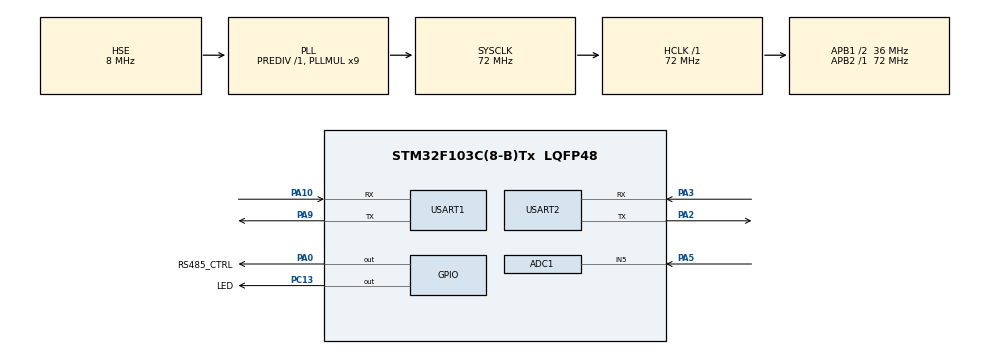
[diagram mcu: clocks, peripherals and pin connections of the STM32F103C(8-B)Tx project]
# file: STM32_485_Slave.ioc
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ADC1.Channel-1\#ChannelRegularConversion=ADC_CHANNEL_5
ADC1.NbrOfConversionFlag=1
ADC1.Rank-1\#ChannelRegularConversion=1
ADC1.SamplingTime-1\#ChannelRegularConversion=ADC_SAMPLETIME_1CYCLE_5
ADC1.master=1
Mcu.Family=STM32F1
Mcu.Name=STM32F103C(8-B)Tx
Mcu.Package=LQFP48
NVIC.PriorityGroup=NVIC_PRIORITYGROUP_4
NVIC.USART2_IRQn=true\:0\:0\:false\:false\:true\:true\:true
PA0-WKUP.GPIO_Label=RS485_CTRL
PA0-WKUP.GPIO_ModeDefaultOutputPP=GPIO_MODE_OUTPUT_PP
PA0-WKUP.GPIO_PuPd=GPIO_PULLUP
PA0-WKUP.GPIO_Speed=GPIO_SPEED_FREQ_HIGH
PA0-WKUP.PinState=GPIO_PIN_SET
PA0-WKUP.Signal=GPIO_Output
PA10.Mode=Asynchronous
PA10.Signal=USART1_RX
PA13.Mode=Serial_Wire
PA13.Signal=SYS_JTMS-SWDIO
PA14.Mode=Serial_Wire
PA14.Signal=SYS_JTCK-SWCLK
PA2.Mode=Asynchronous
PA2.Signal=USART2_TX
PA3.Mode=Asynchronous
PA3.Signal=USART2_RX
PA5.Signal=ADCx_IN5
PA9.Mode=Asynchronous
PA9.Signal=USART1_TX
PC13-TAMPER-RTC.GPIO_Label=LED
PC13-TAMPER-RTC.GPIO_PuPd=GPIO_PULLUP
PC13-TAMPER-RTC.GPIO_Speed=GPIO_SPEED_FREQ_HIGH
PC13-TAMPER-RTC.PinState=GPIO_PIN_SET
PC13-TAMPER-RTC.Signal=GPIO_Output
PD0-OSC_IN.Mode=HSE-External-Oscillator
PD0-OSC_IN.Signal=RCC_OSC_IN
PD1-OSC_OUT.Mode=HSE-External-Oscillator
PD1-OSC_OUT.Signal=RCC_OSC_OUT
ProjectManager.HeapSize=0x200
ProjectManager.StackSize=0x400
ProjectManager.TargetToolchain=MDK-ARM V5.27
RCC.ADCPresc=RCC_ADCPCLK2_DIV6
RCC.AHBFreq_Value=72000000
RCC.APB1CLKDivider=RCC_HCLK_DIV2
RCC.APB1Freq_Value=36000000
RCC.APB1TimFreq_Value=72000000
RCC.APB2Freq_Value=72000000
RCC.APB2TimFreq_Value=72000000
RCC.HCLKFreq_Value=72000000
RCC.PLLMUL=RCC_PLL_MUL9
RCC.PLLSourceVirtual=RCC_PLLSOURCE_HSE
RCC.SYSCLKFreq_VALUE=72000000
RCC.SYSCLKSource=RCC_SYSCLKSOURCE_PLLCLK
RCC.USBFreq_Value=72000000
SH.ADCx_IN5.0=ADC1_IN5,IN5
USART1.VirtualMode=VM_ASYNC
USART2.VirtualMode=VM_ASYNC
board=custom

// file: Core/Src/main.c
/* USER CODE BEGIN Header */
/**
  ******************************************************************************
  * @file           : main.c
  * @brief          : Main program body
  ******************************************************************************
  * @attention
  *
  * <h2><center>&copy; Copyright (c) 2022 STMicroelectronics.
  * All rights reserved.</center></h2>
  *
  * This software component is licensed by ST under BSD 3-Clause license,
  * the "License"; You may not use this file except in compliance with the
  * License. You may obtain a copy of the License at:
  *                        opensource.org/licenses/BSD-3-Clause
  *
  ******************************************************************************
  */
/* USER CODE END Header */
#include "main.h"
#include "adc.h"
#include "usart.h"
#include "gpio.h"

/* USER CODE BEGIN Includes */
#include <stdio.h>
#include <string.h>
#include "rs485.h"
extern uint8_t RS485_RX_BUF[3];
extern uint8_t RS485_TX_BUF[5];
extern uint8_t RS485_RX_TEMP;
extern uint8_t RS485_RX_FINISH;
/* USER CODE END Includes */

void SystemClock_Config(void);

int main(void)
{
  /* USER CODE BEGIN 1 */
	uint16_t val = 0;
  /* USER CODE END 1 */

  /* MCU Configuration--------------------------------------------------------*/

  /* Reset of all peripherals, Initializes the Flash interface and the Systick. */
  HAL_Init();

  /* Configure the system clock */
  SystemClock_Config();

  /* Initialize all configured peripherals */
  MX_GPIO_Init();
  MX_ADC1_Init();
  MX_USART1_UART_Init();
  MX_USART2_UART_Init();
  /* USER CODE BEGIN 2 */
	HAL_ADCEx_Calibration_Start(&hadc1);
	HAL_GPIO_WritePin(RS485_CTRL_GPIO_Port, RS485_CTRL_Pin, GPIO_PIN_RESET);
//	HAL_UART_Receive_IT(&huart2, RS485_RX_BUF, 3);
HAL_UART_Receive_IT(&huart2, &RS485_RX_TEMP, 1);
  /* USER CODE END 2 */

  /* Infinite loop */
  /* USER CODE BEGIN WHILE */
  while (1)
  {
	  HAL_GPIO_TogglePin(LED_GPIO_Port, LED_Pin);
//	  HAL_UART_Receive_IT(&huart2, &RS485_RX_TEMP, 1);
	  if(RS485_RX_FINISH)
	  {

		  RS485_RX_FINISH = 0;

		if(RS485_RX_BUF[1] == Slave_Addr)
		{
			printf("%d %d %d\r\n", RS485_RX_BUF[0], RS485_RX_BUF[1], RS485_RX_BUF[2]);
			memset(RS485_RX_BUF, 0, 3);
			val = get_volatge();
			printf("current adc value: %d\r\n", val);
			RS485_TX_BUF[0] = 0xa5;
			RS485_TX_BUF[1] = 0x81;
			RS485_TX_BUF[2] = val >> 8;
			RS485_TX_BUF[3] = val;
			RS485_TX_BUF[4] = 0x0d;
			RS485_Tx(RS485_TX_BUF, 5);
		}

	  }
//	  printf("%d %d %d\r\n", RS485_RX_BUF[0], RS485_RX_BUF[1], RS485_RX_BUF[2]);
//	  memset(RS485_RX_BUF, 0, 3);
//	  HAL_UART_Receive_IT(&huart2, RS485_RX_BUF, 3);
	HAL_Delay(1000);
//	  HAL_NVIC_DisableIRQ(USART2_IRQn);
//	  HAL_NVIC_EnableIRQ(USART2_IRQn);
    /* USER CODE END WHILE */

  }
}

void SystemClock_Config(void)
{
  RCC_OscInitTypeDef RCC_OscInitStruct = {0};
  RCC_ClkInitTypeDef RCC_ClkInitStruct = {0};
  RCC_PeriphCLKInitTypeDef PeriphClkInit = {0};

  /** Initializes the RCC Oscillators according to the specified parameters
  * in the RCC_OscInitTypeDef structure.
  */
  RCC_OscInitStruct.OscillatorType = RCC_OSCILLATORTYPE_HSE;
  RCC_OscInitStruct.HSEState = RCC_HSE_ON;
  RCC_OscInitStruct.HSEPredivValue = RCC_HSE_PREDIV_DIV1;
  RCC_OscInitStruct.HSIState = RCC_HSI_ON;
  RCC_OscInitStruct.PLL.PLLState = RCC_PLL_ON;
  RCC_OscInitStruct.PLL.PLLSource = RCC_PLLSOURCE_HSE;
  RCC_OscInitStruct.PLL.PLLMUL = RCC_PLL_MUL9;
  if (HAL_RCC_OscConfig(&RCC_OscInitStruct) != HAL_OK)
  {
    Error_Handler();
  }
  /** Initializes the CPU, AHB and APB buses clocks
  */
  RCC_ClkInitStruct.ClockType = RCC_CLOCKTYPE_HCLK|RCC_CLOCKTYPE_SYSCLK
                              |RCC_CLOCKTYPE_PCLK1|RCC_CLOCKTYPE_PCLK2;
  RCC_ClkInitStruct.SYSCLKSource = RCC_SYSCLKSOURCE_PLLCLK;
  RCC_ClkInitStruct.AHBCLKDivider = RCC_SYSCLK_DIV1;
  RCC_ClkInitStruct.APB1CLKDivider = RCC_HCLK_DIV2;
  RCC_ClkInitStruct.APB2CLKDivider = RCC_HCLK_DIV1;

  if (HAL_RCC_ClockConfig(&RCC_ClkInitStruct, FLASH_LATENCY_2) != HAL_OK)
  {
    Error_Handler();
  }
  PeriphClkInit.PeriphClockSelection = RCC_PERIPHCLK_ADC;
  PeriphClkInit.AdcClockSelection = RCC_ADCPCLK2_DIV6;
  if (HAL_RCCEx_PeriphCLKConfig(&PeriphClkInit) != HAL_OK)
  {
    Error_Handler();
  }
}

void Error_Handler(void)
{
  __disable_irq();
  while (1)
  {
  }
}

/************************ (C) COPYRIGHT STMicroelectronics *****END OF FILE****/
